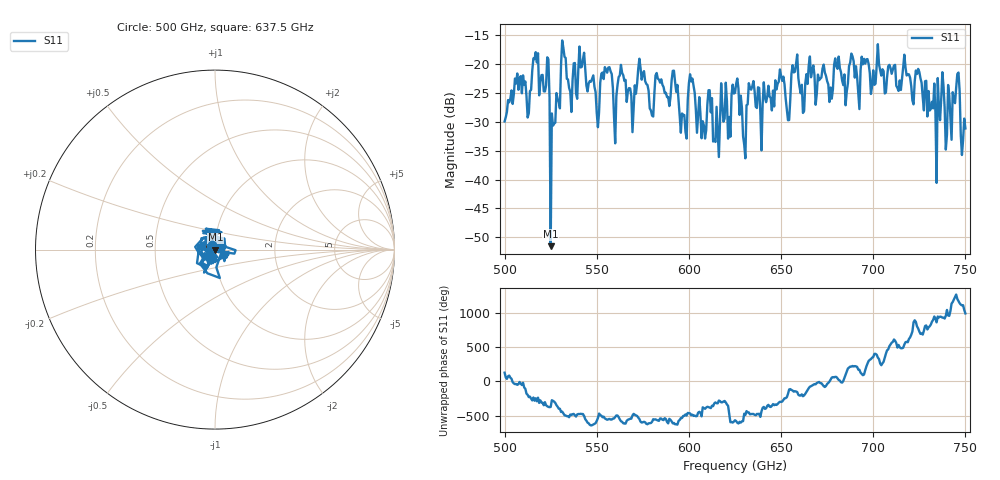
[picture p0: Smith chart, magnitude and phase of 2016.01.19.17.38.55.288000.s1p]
!Created with skrf (http://scikit-rf.org).
# GHz S RI R 50.0
!freq ReS11 ImS11
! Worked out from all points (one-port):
!   401 points, 500 GHz to 750 GHz, reference 50 ohm
!   lowest |S11| = -51.6 dB at 525 GHz (marker M1), VSWR 1.01, Z = 50.3 - j0.0566 ohm
!   |S11| at or under -10 dB: start of sweep to end of sweep
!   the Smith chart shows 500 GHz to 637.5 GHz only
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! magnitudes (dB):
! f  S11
! 500 GHz  -29.9
! 506.9 GHz  -21.6
! 513.1 GHz  -28.5
! 516.9 GHz  -17.9
! 523.1 GHz  -18.8
! 525 GHz  -51.6
! 526.2 GHz  -30.7
! 531.2 GHz  -15.9
! 535.6 GHz  -24.8
! 541.9 GHz  -20.5
! 550 GHz  -28.5
! 562.5 GHz  -22.0
! 593.8 GHz  -23.6
! 597.5 GHz  -28.8
! 601.2 GHz  -23.0
! 608.1 GHz  -30.6
! 611.2 GHz  -24.5
! 615 GHz  -27.4
! 625 GHz  -25.0
! 630 GHz  -34.0
! 633.8 GHz  -24.4
! 653.8 GHz  -29.7
! 656.2 GHz  -20.2
! 687.5 GHz  -19.7
! 718.8 GHz  -21.7
! 735 GHz  -22.4
! 745.6 GHz  -21.7
! 750 GHz  -31.1
